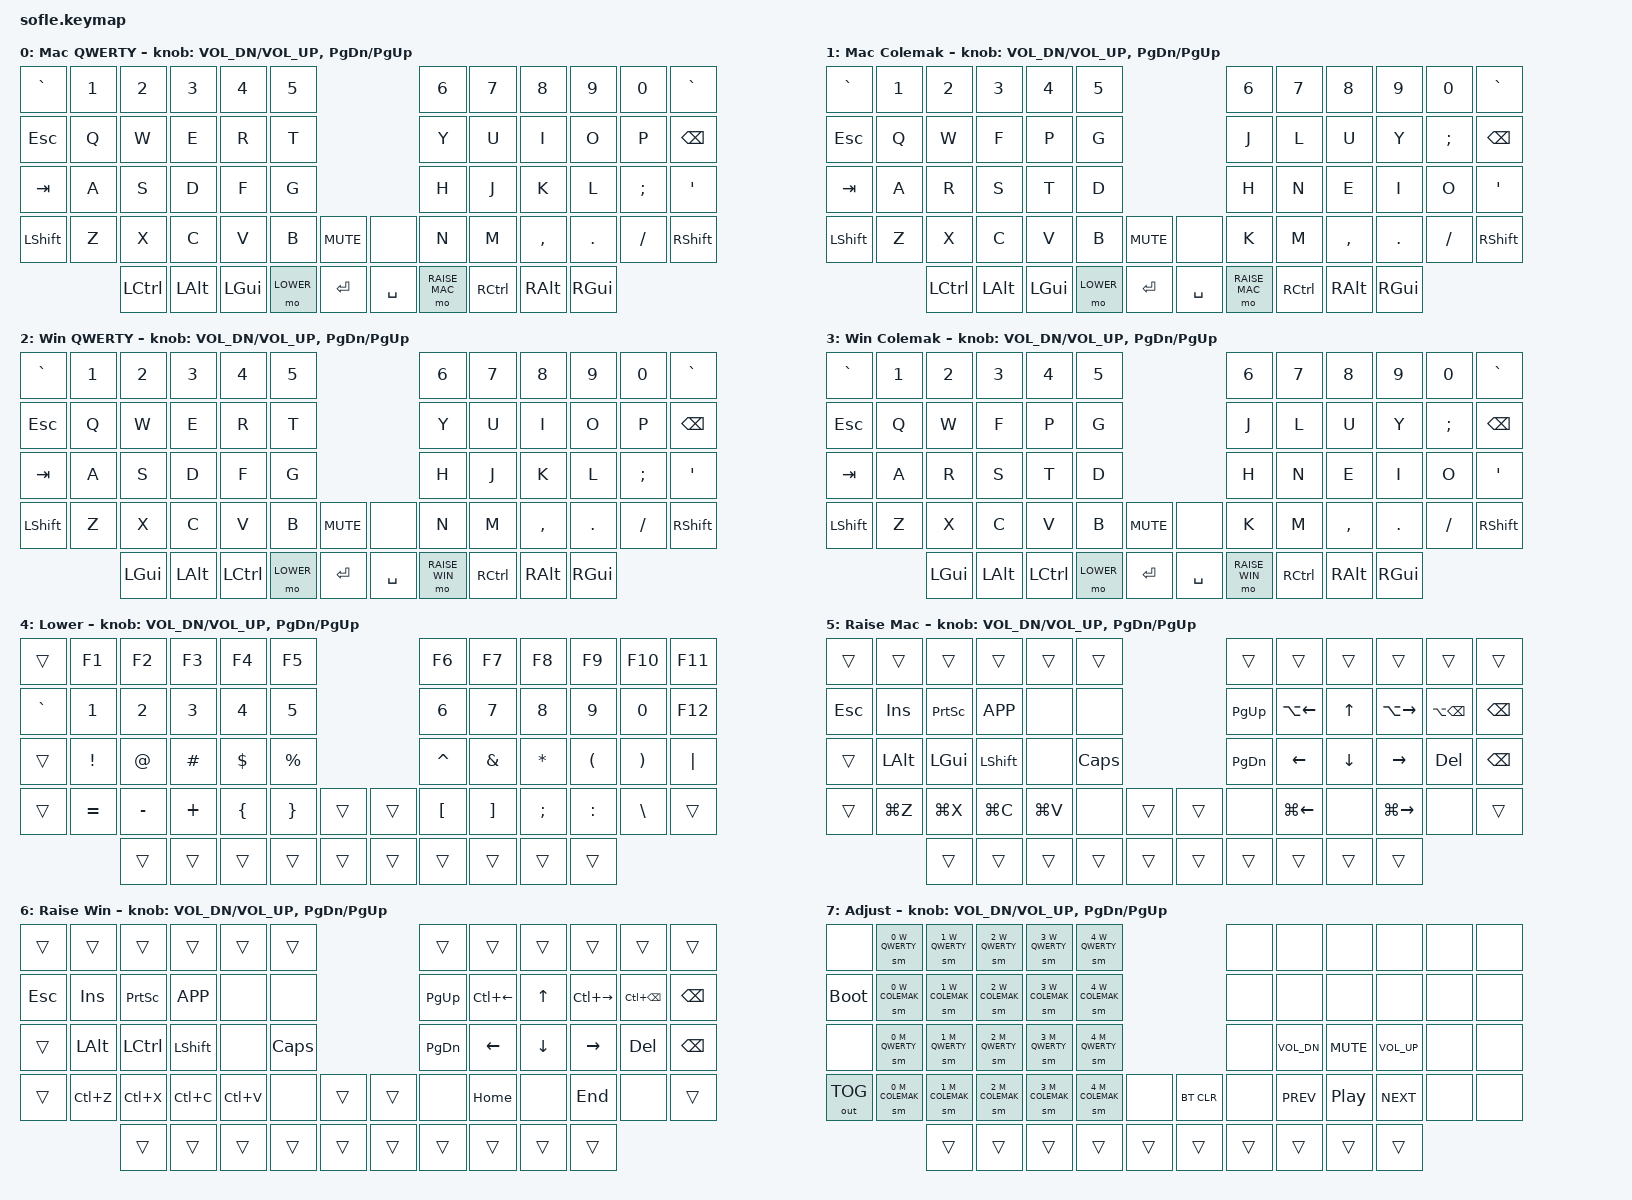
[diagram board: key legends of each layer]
/*
 * Sofle v2.0w - Josef Adamcik's original layout (ZMK port)
 * Source: https://github.com/josefadamcik/SofleKeyboard
 *
 * Layers:
 *   0 - M_QWERTY   Mac + QWERTY   (default; Cmd inner thumb)
 *   1 - M_COLEMAK  Mac + Colemak
 *   2 - W_QWERTY   Windows/Linux + QWERTY   (Ctrl inner thumb)
 *   3 - W_COLEMAK  Windows/Linux + Colemak
 *   4 - LOWER      Shared symbols / F-keys
 *   5 - RAISE_MAC  Mac nav + clipboard (Opt-arrow, Cmd-arrow, Cmd-Z/X/C/V)
 *   6 - RAISE_WIN  Windows/Linux nav + clipboard (Ctrl-arrow, Home/End, Ctrl-Z/X/C/V)
 *   7 - ADJUST     BT profile × OS × layout selection; media keys
 *
 * ADJUST is reached by holding LOWER + RAISE simultaneously (either RAISE variant).
 * Left side of ADJUST: grid of sm macros — row = layout, column = BT profile.
 *   Row 1 (top):  Win  + QWERTY
 *   Row 2:        Win  + Colemak  (bootloader at far left)
 *   Row 3:        Mac  + QWERTY
 *   Row 4:        Mac  + Colemak  (OUT_TOG at far left; BT_CLR at right encoder)
 * Right side: media volume + prev/play/next.
 */

#include <behaviors.dtsi>
#include <dt-bindings/zmk/keys.h>
#include <dt-bindings/zmk/bt.h>
#include <dt-bindings/zmk/outputs.h>

&nice_view_spi {
    cs-gpios = <&pro_micro 0 GPIO_ACTIVE_HIGH>;
};

#define M_QWERTY   0
#define M_COLEMAK  1
#define W_QWERTY   2
#define W_COLEMAK  3
#define LOWER      4
#define RAISE_MAC  5
#define RAISE_WIN  6
#define ADJUST     7

/ {
    macros {
        // sm <profile> <layer> — select BT profile and switch OS/layout layer atomically
        sm: sofle_mode {
            compatible = "zmk,behavior-macro-two-param";
            wait-ms = <0>;
            tap-ms = <0>;
            #binding-cells = <2>;
            bindings
                = <&macro_param_1to2>
                , <&bt BT_SEL MACRO_PLACEHOLDER>
                , <&macro_param_2to1>
                , <&to MACRO_PLACEHOLDER>
                ;
        };
    };

    keymap {
        compatible = "zmk,keymap";

        // ── Layer 0: Mac + QWERTY ─────────────────────────────────────────────
        // Thumb: LCTRL LALT LGUI (Cmd inner = Mac-native; matches QMK CG_TOGG on)
        mac_qwerty_layer {
            label = "Mac QWERTY";
            bindings = <
// ╭──────────┬──────────┬──────────┬──────────┬──────────┬──────────╮                     ╭──────────┬──────────┬──────────┬──────────┬──────────┬──────────╮
   &kp GRAVE  &kp N1     &kp N2     &kp N3     &kp N4     &kp N5                           &kp N6     &kp N7     &kp N8     &kp N9     &kp N0     &kp GRAVE
// ├──────────┼──────────┼──────────┼──────────┼──────────┼──────────┤                     ├──────────┼──────────┼──────────┼──────────┼──────────┼──────────┤
   &kp ESC    &kp Q      &kp W      &kp E      &kp R      &kp T                            &kp Y      &kp U      &kp I      &kp O      &kp P      &kp BSPC
// ├──────────┼──────────┼──────────┼──────────┼──────────┼──────────┤                     ├──────────┼──────────┼──────────┼──────────┼──────────┼──────────┤
   &kp TAB    &kp A      &kp S      &kp D      &kp F      &kp G                            &kp H      &kp J      &kp K      &kp L      &kp SEMI   &kp SQT
// ├──────────┼──────────┼──────────┼──────────┼──────────┼──────────┼──────────╮╭─────────┼──────────┼──────────┼──────────┼──────────┼──────────┼──────────┤
   &kp LSHFT  &kp Z      &kp X      &kp C      &kp V      &kp B      &kp C_MUTE  &none     &kp N      &kp M      &kp COMMA  &kp DOT    &kp FSLH   &kp RSHFT
// ╰──────────┴──────────┴──────────┼──────────┼──────────┼──────────┼──────────╯╰─────────┼──────────┼──────────┼──────────┼──────────┴──────────┴──────────╯
                         &kp LCTRL  &kp LALT   &kp LGUI   &mo LOWER  &kp RET     &kp SPACE &mo RAISE_MAC &kp RCTRL &kp RALT  &kp RGUI
//                       ╰──────────┴──────────┴──────────┴──────────┴──────────╯╰─────────┴──────────┴──────────┴──────────┴──────────╯
            >;
            sensor-bindings = <&inc_dec_kp C_VOL_DN C_VOL_UP &inc_dec_kp PG_DN PG_UP>;
        };

        // ── Layer 1: Mac + Colemak ────────────────────────────────────────────
        mac_colemak_layer {
            label = "Mac Colemak";
            bindings = <
// ╭──────────┬──────────┬──────────┬──────────┬──────────┬──────────╮                     ╭──────────┬──────────┬──────────┬──────────┬──────────┬──────────╮
   &kp GRAVE  &kp N1     &kp N2     &kp N3     &kp N4     &kp N5                           &kp N6     &kp N7     &kp N8     &kp N9     &kp N0     &kp GRAVE
// ├──────────┼──────────┼──────────┼──────────┼──────────┼──────────┤                     ├──────────┼──────────┼──────────┼──────────┼──────────┼──────────┤
   &kp ESC    &kp Q      &kp W      &kp F      &kp P      &kp G                            &kp J      &kp L      &kp U      &kp Y      &kp SEMI   &kp BSPC
// ├──────────┼──────────┼──────────┼──────────┼──────────┼──────────┤                     ├──────────┼──────────┼──────────┼──────────┼──────────┼──────────┤
   &kp TAB    &kp A      &kp R      &kp S      &kp T      &kp D                            &kp H      &kp N      &kp E      &kp I      &kp O      &kp SQT
// ├──────────┼──────────┼──────────┼──────────┼──────────┼──────────┼──────────╮╭─────────┼──────────┼──────────┼──────────┼──────────┼──────────┼──────────┤
   &kp LSHFT  &kp Z      &kp X      &kp C      &kp V      &kp B      &kp C_MUTE  &none     &kp K      &kp M      &kp COMMA  &kp DOT    &kp FSLH   &kp RSHFT
// ╰──────────┴──────────┴──────────┼──────────┼──────────┼──────────┼──────────╯╰─────────┼──────────┼──────────┼──────────┼──────────┴──────────┴──────────╯
                         &kp LCTRL  &kp LALT   &kp LGUI   &mo LOWER  &kp RET     &kp SPACE &mo RAISE_MAC &kp RCTRL &kp RALT  &kp RGUI
//                       ╰──────────┴──────────┴──────────┴──────────┴──────────╯╰─────────┴──────────┴──────────┴──────────┴──────────╯
            >;
            sensor-bindings = <&inc_dec_kp C_VOL_DN C_VOL_UP &inc_dec_kp PG_DN PG_UP>;
        };

        // ── Layer 2: Windows/Linux + QWERTY ──────────────────────────────────
        // Thumb: LGUI LALT LCTRL (Ctrl inner = Windows-native; matches QMK default)
        win_qwerty_layer {
            label = "Win QWERTY";
            bindings = <
// ╭──────────┬──────────┬──────────┬──────────┬──────────┬──────────╮                     ╭──────────┬──────────┬──────────┬──────────┬──────────┬──────────╮
   &kp GRAVE  &kp N1     &kp N2     &kp N3     &kp N4     &kp N5                           &kp N6     &kp N7     &kp N8     &kp N9     &kp N0     &kp GRAVE
// ├──────────┼──────────┼──────────┼──────────┼──────────┼──────────┤                     ├──────────┼──────────┼──────────┼──────────┼──────────┼──────────┤
   &kp ESC    &kp Q      &kp W      &kp E      &kp R      &kp T                            &kp Y      &kp U      &kp I      &kp O      &kp P      &kp BSPC
// ├──────────┼──────────┼──────────┼──────────┼──────────┼──────────┤                     ├──────────┼──────────┼──────────┼──────────┼──────────┼──────────┤
   &kp TAB    &kp A      &kp S      &kp D      &kp F      &kp G                            &kp H      &kp J      &kp K      &kp L      &kp SEMI   &kp SQT
// ├──────────┼──────────┼──────────┼──────────┼──────────┼──────────┼──────────╮╭─────────┼──────────┼──────────┼──────────┼──────────┼──────────┼──────────┤
   &kp LSHFT  &kp Z      &kp X      &kp C      &kp V      &kp B      &kp C_MUTE  &none     &kp N      &kp M      &kp COMMA  &kp DOT    &kp FSLH   &kp RSHFT
// ╰──────────┴──────────┴──────────┼──────────┼──────────┼──────────┼──────────╯╰─────────┼──────────┼──────────┼──────────┼──────────┴──────────┴──────────╯
                         &kp LGUI   &kp LALT   &kp LCTRL  &mo LOWER  &kp RET     &kp SPACE &mo RAISE_WIN &kp RCTRL &kp RALT  &kp RGUI
//                       ╰──────────┴──────────┴──────────┴──────────┴──────────╯╰─────────┴──────────┴──────────┴──────────┴──────────╯
            >;
            sensor-bindings = <&inc_dec_kp C_VOL_DN C_VOL_UP &inc_dec_kp PG_DN PG_UP>;
        };

        // ── Layer 3: Windows/Linux + Colemak ─────────────────────────────────
        win_colemak_layer {
            label = "Win Colemak";
            bindings = <
// ╭──────────┬──────────┬──────────┬──────────┬──────────┬──────────╮                     ╭──────────┬──────────┬──────────┬──────────┬──────────┬──────────╮
   &kp GRAVE  &kp N1     &kp N2     &kp N3     &kp N4     &kp N5                           &kp N6     &kp N7     &kp N8     &kp N9     &kp N0     &kp GRAVE
// ├──────────┼──────────┼──────────┼──────────┼──────────┼──────────┤                     ├──────────┼──────────┼──────────┼──────────┼──────────┼──────────┤
   &kp ESC    &kp Q      &kp W      &kp F      &kp P      &kp G                            &kp J      &kp L      &kp U      &kp Y      &kp SEMI   &kp BSPC
// ├──────────┼──────────┼──────────┼──────────┼──────────┼──────────┤                     ├──────────┼──────────┼──────────┼──────────┼──────────┼──────────┤
   &kp TAB    &kp A      &kp R      &kp S      &kp T      &kp D                            &kp H      &kp N      &kp E      &kp I      &kp O      &kp SQT
// ├──────────┼──────────┼──────────┼──────────┼──────────┼──────────┼──────────╮╭─────────┼──────────┼──────────┼──────────┼──────────┼──────────┼──────────┤
   &kp LSHFT  &kp Z      &kp X      &kp C      &kp V      &kp B      &kp C_MUTE  &none     &kp K      &kp M      &kp COMMA  &kp DOT    &kp FSLH   &kp RSHFT
// ╰──────────┴──────────┴──────────┼──────────┼──────────┼──────────┼──────────╯╰─────────┼──────────┼──────────┼──────────┼──────────┴──────────┴──────────╯
                         &kp LGUI   &kp LALT   &kp LCTRL  &mo LOWER  &kp RET     &kp SPACE &mo RAISE_WIN &kp RCTRL &kp RALT  &kp RGUI
//                       ╰──────────┴──────────┴──────────┴──────────┴──────────╯╰─────────┴──────────┴──────────┴──────────┴──────────╯
            >;
            sensor-bindings = <&inc_dec_kp C_VOL_DN C_VOL_UP &inc_dec_kp PG_DN PG_UP>;
        };

        // ── Layer 4: Lower (shared) ───────────────────────────────────────────
        lower_layer {
            label = "Lower";
            bindings = <
// ╭──────────┬──────────┬──────────┬──────────┬──────────┬──────────╮                     ╭──────────┬──────────┬──────────┬──────────┬──────────┬──────────╮
   &trans     &kp F1     &kp F2     &kp F3     &kp F4     &kp F5                           &kp F6     &kp F7     &kp F8     &kp F9     &kp F10    &kp F11
// ├──────────┼──────────┼──────────┼──────────┼──────────┼──────────┤                     ├──────────┼──────────┼──────────┼──────────┼──────────┼──────────┤
   &kp GRAVE  &kp N1     &kp N2     &kp N3     &kp N4     &kp N5                           &kp N6     &kp N7     &kp N8     &kp N9     &kp N0     &kp F12
// ├──────────┼──────────┼──────────┼──────────┼──────────┼──────────┤                     ├──────────┼──────────┼──────────┼──────────┼──────────┼──────────┤
   &trans     &kp EXCL   &kp AT     &kp HASH   &kp DLLR   &kp PRCNT                        &kp CARET  &kp AMPS   &kp STAR   &kp LPAR   &kp RPAR   &kp PIPE
// ├──────────┼──────────┼──────────┼──────────┼──────────┼──────────┼──────────╮╭─────────┼──────────┼──────────┼──────────┼──────────┼──────────┼──────────┤
   &trans     &kp EQUAL  &kp MINUS  &kp PLUS   &kp LBRC   &kp RBRC   &trans      &trans    &kp LBKT   &kp RBKT   &kp SEMI   &kp COLON  &kp BSLH   &trans
// ╰──────────┴──────────┴──────────┼──────────┼──────────┼──────────┼──────────╯╰─────────┼──────────┼──────────┼──────────┼──────────┴──────────┴──────────╯
                         &trans     &trans     &trans     &trans     &trans      &trans    &trans     &trans     &trans     &trans
//                       ╰──────────┴──────────┴──────────┴──────────┴──────────╯╰─────────┴──────────┴──────────┴──────────┴──────────╯
            >;
            sensor-bindings = <&inc_dec_kp C_VOL_DN C_VOL_UP &inc_dec_kp PG_DN PG_UP>;
        };

        // ── Layer 5: Raise Mac ────────────────────────────────────────────────
        // Word nav:   Opt+← / Opt+→   (Option+arrow = word boundary on Mac)
        // Line nav:   Cmd+← / Cmd+→   (Command+arrow = line boundary on Mac)
        // Del word:   Opt+Bspc        (Option+Backspace = delete word on Mac)
        // Clipboard:  Cmd+Z/X/C/V
        // Modifiers:  LALT / LGUI / LSHFT for one-hand combos (e.g. Shift+Cmd+← = select to line start)
        raise_mac_layer {
            label = "Raise Mac";
            bindings = <
// ╭──────────┬──────────┬──────────┬──────────┬──────────┬──────────╮                    ╭──────────┬──────────┬──────────┬──────────┬──────────┬──────────╮
   &trans     &trans     &trans     &trans     &trans     &trans                          &trans     &trans     &trans     &trans     &trans     &trans
// ├──────────┼──────────┼──────────┼──────────┼──────────┼──────────┤                    ├──────────┼──────────┼──────────┼──────────┼──────────┼──────────┤
   &kp ESC    &kp INS    &kp PSCRN  &kp K_APP  &none      &none                           &kp PG_UP  &kp LA(LEFT)  &kp UP  &kp LA(RIGHT) &kp LA(BSPC) &kp BSPC
// ├──────────┼──────────┼──────────┼──────────┼──────────┼──────────┤                    ├──────────┼──────────┼──────────┼──────────┼──────────┼──────────┤
   &trans     &kp LALT   &kp LGUI   &kp LSHFT  &none      &kp CAPS                        &kp PG_DN  &kp LEFT   &kp DOWN   &kp RIGHT  &kp DEL    &kp BSPC
// ├──────────┼──────────┼──────────┼──────────┼──────────┼──────────┼──────────╮╭────────┼──────────┼──────────┼──────────┼──────────┼──────────┼──────────┤
   &trans     &kp LG(Z)  &kp LG(X)  &kp LG(C)  &kp LG(V)  &none      &trans       &trans  &none      &kp LG(LEFT) &none  &kp LG(RIGHT) &none     &trans
// ╰──────────┴──────────┴──────────┼──────────┼──────────┼──────────┼──────────╯╰────────┼──────────┼──────────┼──────────┼──────────┴──────────┴──────────╯
                         &trans     &trans     &trans     &trans     &trans      &trans   &trans     &trans     &trans     &trans
//                       ╰──────────┴──────────┴──────────┴──────────┴──────────╯╰────────┴──────────┴──────────┴──────────┴──────────╯
            >;
            sensor-bindings = <&inc_dec_kp C_VOL_DN C_VOL_UP &inc_dec_kp PG_DN PG_UP>;
        };

        // ── Layer 6: Raise Win ────────────────────────────────────────────────
        // Word nav:   Ctrl+← / Ctrl+→
        // Line nav:   Home / End
        // Del word:   Ctrl+Bspc
        // Clipboard:  Ctrl+Z/X/C/V
        // Modifiers:  LALT / LCTRL / LSHFT for one-hand combos (e.g. Shift+Ctrl+← = select word)
        raise_win_layer {
            label = "Raise Win";
            bindings = <
// ╭──────────┬──────────┬──────────┬──────────┬──────────┬──────────╮                    ╭──────────┬──────────┬──────────┬──────────┬──────────┬──────────╮
   &trans     &trans     &trans     &trans     &trans     &trans                          &trans     &trans     &trans     &trans     &trans     &trans
// ├──────────┼──────────┼──────────┼──────────┼──────────┼──────────┤                    ├──────────┼──────────┼──────────┼──────────┼──────────┼──────────┤
   &kp ESC    &kp INS    &kp PSCRN  &kp K_APP  &none      &none                           &kp PG_UP  &kp LC(LEFT)  &kp UP  &kp LC(RIGHT) &kp LC(BSPC) &kp BSPC
// ├──────────┼──────────┼──────────┼──────────┼──────────┼──────────┤                    ├──────────┼──────────┼──────────┼──────────┼──────────┼──────────┤
   &trans     &kp LALT   &kp LCTRL  &kp LSHFT  &none      &kp CAPS                        &kp PG_DN  &kp LEFT   &kp DOWN   &kp RIGHT  &kp DEL    &kp BSPC
// ├──────────┼──────────┼──────────┼──────────┼──────────┼──────────┼──────────╮╭────────┼──────────┼──────────┼──────────┼──────────┼──────────┼──────────┤
   &trans     &kp LC(Z)  &kp LC(X)  &kp LC(C)  &kp LC(V)  &none      &trans       &trans  &none      &kp HOME   &none      &kp END    &none      &trans
// ╰──────────┴──────────┴──────────┼──────────┼──────────┼──────────┼──────────╯╰────────┼──────────┼──────────┼──────────┼──────────┴──────────┴──────────╯
                         &trans     &trans     &trans     &trans     &trans      &trans   &trans     &trans     &trans     &trans
//                       ╰──────────┴──────────┴──────────┴──────────┴──────────╯╰────────┴──────────┴──────────┴──────────┴──────────╯
            >;
            sensor-bindings = <&inc_dec_kp C_VOL_DN C_VOL_UP &inc_dec_kp PG_DN PG_UP>;
        };

        // ── Layer 7: Adjust ───────────────────────────────────────────────────
        // Reached by holding LOWER + either RAISE (Mac or Win).
        //
        // Left side grid — sm <BT profile> <layer>:
        //   Columns = BT profile 0..4   (one per device)
        //   Rows    = OS + layout combo
        //
        //   Row 1:  Win  QWERTY    (top)
        //   Row 2:  Win  Colemak   (bootloader at far-left outer key)
        //   Row 3:  Mac  QWERTY
        //   Row 4:  Mac  Colemak   (OUT_TOG at far-left; BT_CLR at right encoder button)
        //
        // Right side: volume (row 3) and transport (row 4).
        adjust_layer {
            label = "Adjust";
            bindings = <
// ╭WIN-QWERTY─┬───────────────┬───────────────┬───────────────┬───────────────┬────────────────╮                    ╭──────────┬──────────┬──────────┬──────────┬──────────┬──────────╮
   &none        &sm 0 W_QWERTY  &sm 1 W_QWERTY  &sm 2 W_QWERTY  &sm 3 W_QWERTY  &sm 4 W_QWERTY                        &none      &none      &none      &none      &none      &none
// ├WIN-COLEMAK─┼───────────────┼───────────────┼───────────────┼───────────────┼────────────────┤                    ├──────────┼──────────┼──────────┼──────────┼──────────┼──────────┤
   &bootloader  &sm 0 W_COLEMAK &sm 1 W_COLEMAK &sm 2 W_COLEMAK &sm 3 W_COLEMAK &sm 4 W_COLEMAK                       &none      &none      &none      &none      &none      &none
// ├MAC-QWERTY──┼───────────────┼───────────────┼───────────────┼───────────────┼────────────────┤                    ├──────────┼──────────┼──────────┼──────────┼──────────┼──────────┤
   &none        &sm 0 M_QWERTY  &sm 1 M_QWERTY  &sm 2 M_QWERTY  &sm 3 M_QWERTY  &sm 4 M_QWERTY                        &none      &kp C_VOL_DN &kp C_MUTE &kp C_VOL_UP &none  &none
// ├MAC-COLEMAK─┼───────────────┼───────────────┼───────────────┼───────────────┼────────────────┼──────────╮╭────────┼──────────┼──────────┼──────────┼──────────┼──────────┼──────────┤
   &out OUT_TOG &sm 0 M_COLEMAK &sm 1 M_COLEMAK &sm 2 M_COLEMAK &sm 3 M_COLEMAK &sm 4 M_COLEMAK  &none       &bt BT_CLR &none    &kp C_PREV &kp C_PP   &kp C_NEXT &none      &none
// ╰────────────┴───────────────┴───────────────┼───────────────┼───────────────┼────────────────┼──────────╯╰────────┼──────────┼──────────┼──────────┼──────────┴──────────┴──────────╯
                         &trans     &trans     &trans     &trans     &trans      &trans   &trans     &trans     &trans     &trans
//                       ╰──────────┴──────────┴──────────┴──────────┴──────────╯╰────────┴──────────┴──────────┴──────────┴──────────╯
            >;
            sensor-bindings = <&inc_dec_kp C_VOL_DN C_VOL_UP &inc_dec_kp PG_DN PG_UP>;
        };
    };

    conditional_layers {
        compatible = "zmk,conditional-layers";
        // ADJUST fires when LOWER + either RAISE variant is held
        adjust_mac {
            if-layers = <LOWER RAISE_MAC>;
            then-layer = <ADJUST>;
        };
        adjust_win {
            if-layers = <LOWER RAISE_WIN>;
            then-layer = <ADJUST>;
        };
    };
};
